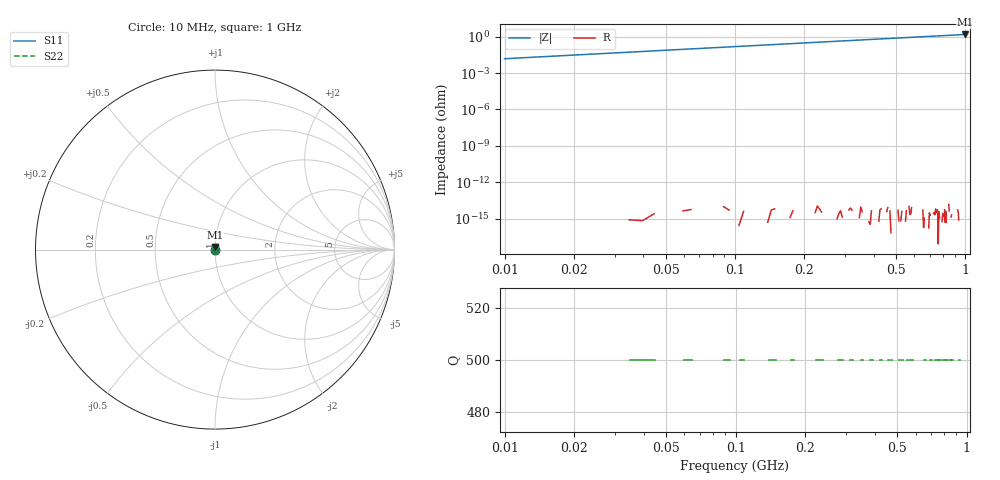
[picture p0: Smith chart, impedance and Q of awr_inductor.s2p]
! AWR Design Environment (17415) Wed Nov  6 14:17:59 2024
! Document = 'Inductor'
! nPorts: 2, nXvals: 201
# MHz S DB R 50
!Freq DBS11 AngS11 DBS21 AngS21 DBS12 AngS12 DBS22 AngS22
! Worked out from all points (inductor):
!   201 points, 10 MHz to 1 GHz, reference 50 ohm
!   read as 1/Y11, port 2 shorted: L = 244 pH near 14.95 MHz
!   highest |Z| = 1.53 ohm at 1 GHz (marker M1)
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10  -76.29 90.0  -0.00 -0.0  -0.00 -0.0  -76.29 90.0
14.95  -72.80 90.0  -0.00 -0.0  -0.00 -0.0  -72.80 90.0
19.9  -70.31 90.0  -0.00 -0.0  -0.00 -0.0  -70.31 90.0
24.85  -68.38 90.0  -0.00 -0.0  -0.00 -0.0  -68.38 90.0
29.8  -66.80 90.0  -0.00 -0.0  -0.00 -0.0  -66.80 90.0
34.75  -65.47 90.0  -0.00 -0.0  -0.00 -0.0  -65.47 90.0
44.65  -63.29 90.0  -0.00 -0.0  -0.00 -0.0  -63.29 90.0
59.5  -60.80 89.9  -0.00 -0.1  -0.00 -0.1  -60.80 89.9
69.4  -59.46 89.9  -0.00 -0.1  -0.00 -0.1  -59.46 89.9
84.25  -57.78 89.9  -0.00 -0.1  -0.00 -0.1  -57.78 89.9
109  -55.54 89.9  -0.00 -0.1  -0.00 -0.1  -55.54 89.9
138.7  -53.45 89.9  -0.00 -0.1  -0.00 -0.1  -53.45 89.9
178.3  -51.27 89.8  -0.00 -0.2  -0.00 -0.2  -51.27 89.8
212.95  -49.72 89.8  -0.00 -0.2  -0.00 -0.2  -49.72 89.8
252.55  -48.24 89.8  -0.00 -0.2  -0.00 -0.2  -48.24 89.8
297.1  -46.83 89.7  -0.00 -0.3  -0.00 -0.3  -46.83 89.7
341.65  -45.62 89.7  -0.00 -0.3  -0.00 -0.3  -45.62 89.7
415.9  -43.91 89.6  -0.00 -0.4  -0.00 -0.4  -43.91 89.6
505  -42.22 89.6  -0.00 -0.4  -0.00 -0.4  -42.22 89.6
673.3  -39.72 89.4  -0.00 -0.6  -0.00 -0.6  -39.72 89.4
836.65  -37.84 89.3  -0.00 -0.7  -0.00 -0.7  -37.84 89.3
1000  -36.29 89.1  -0.00 -0.9  -0.00 -0.9  -36.29 89.1
